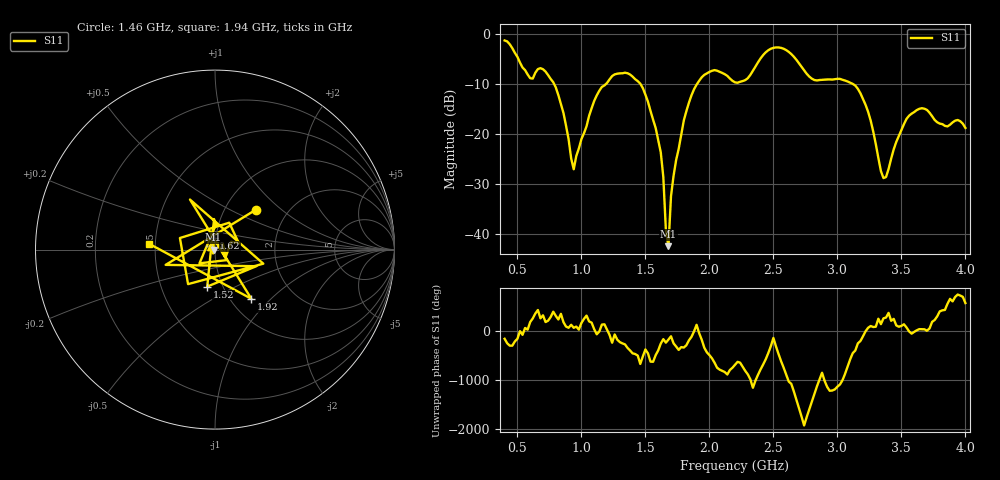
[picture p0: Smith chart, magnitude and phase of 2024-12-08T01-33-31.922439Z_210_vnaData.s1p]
!Created with skrf (http://scikit-rf.org).
# Hz S RI R 50.0
!freq ReS11 ImS11
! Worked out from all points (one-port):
!   181 points, 400 MHz to 4 GHz, reference 50 ohm
!   lowest |S11| = -42.3 dB at 1.68 GHz (marker M1), VSWR 1.02, Z = 49.2 + j0.0347 ohm
!   |S11| at or under -10 dB: 786.9 MHz to 1.191 GHz (404.6 MHz wide, 40.9 % of centre); 1.462 GHz to 1.903 GHz (441.5 MHz wide, 26.2 % of centre); 3.122 GHz to end of sweep
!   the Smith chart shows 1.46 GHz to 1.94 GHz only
!   S11 on the Smith chart (normalised r, x): 1.46 GHz: 1.39, +0.69; 1.52 GHz: 0.85, -0.36; 1.62 GHz: 0.98, +0.13; 1.92 GHz: 1.24, -0.77; 1.94 GHz: 0.46, +0.03
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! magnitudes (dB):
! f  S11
! 400 MHz  -1.3
! 600 MHz  -8.8
! 720 MHz  -7.5
! 860 MHz  -15.8
! 940 MHz  -27.0
! 1.12 GHz  -12.3
! 1.3 GHz  -7.9
! 1.46 GHz  -9.9
! 1.52 GHz  -13.5
! 1.62 GHz  -23.6
! 1.64 GHz  -28.6
! 1.66 GHz  -39.2
! 1.68 GHz  -42.3
! 1.7 GHz  -32.4
! 1.76 GHz  -22.9
! 1.82 GHz  -15.4
! 1.92 GHz  -9.4
! 1.94 GHz  -8.7
! 2.2 GHz  -9.7
! 2.48 GHz  -3.0
! 2.66 GHz  -4.6
! 2.82 GHz  -9.2
! 3.1 GHz  -9.7
! 3.24 GHz  -15.5
! 3.36 GHz  -28.8
! 3.56 GHz  -16.3
! 3.68 GHz  -14.9
! 4 GHz  -18.7
